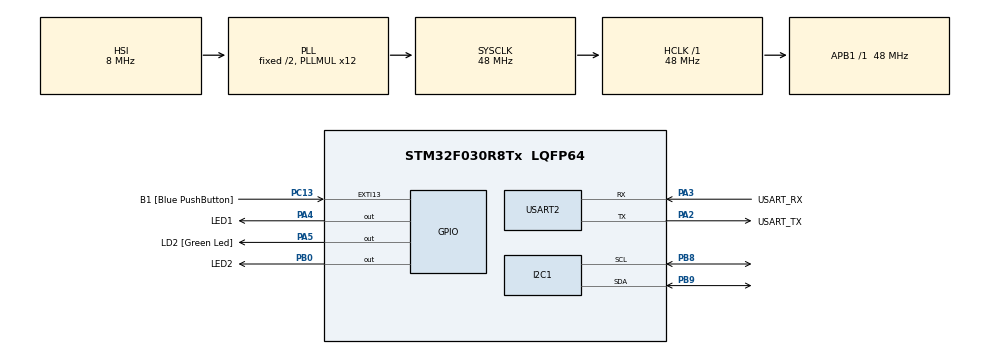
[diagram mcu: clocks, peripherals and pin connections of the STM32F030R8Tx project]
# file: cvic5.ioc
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Dma.Request0=USART2_RX
Dma.USART2_RX.0.Direction=DMA_PERIPH_TO_MEMORY
Dma.USART2_RX.0.Instance=DMA1_Channel5
Dma.USART2_RX.0.MemDataAlignment=DMA_MDATAALIGN_BYTE
Dma.USART2_RX.0.MemInc=DMA_MINC_ENABLE
Dma.USART2_RX.0.Mode=DMA_CIRCULAR
Dma.USART2_RX.0.PeriphDataAlignment=DMA_PDATAALIGN_BYTE
Dma.USART2_RX.0.PeriphInc=DMA_PINC_DISABLE
Dma.USART2_RX.0.Priority=DMA_PRIORITY_LOW
Mcu.Family=STM32F0
Mcu.Name=STM32F030R8Tx
Mcu.Package=LQFP64
NVIC.DMA1_Channel4_5_IRQn=true\:0\:0\:false\:false\:true\:false\:true\:true
PA13.GPIO_Label=TMS
PA13.Mode=Serial_Wire
PA13.Signal=SYS_SWDIO
PA14.GPIO_Label=TCK
PA14.Mode=Serial_Wire
PA14.Signal=SYS_SWCLK
PA2.GPIO_Label=USART_TX
PA2.GPIO_Mode=GPIO_MODE_AF_PP
PA2.GPIO_PuPd=GPIO_NOPULL
PA2.GPIO_Speed=GPIO_SPEED_FREQ_LOW
PA2.Mode=Asynchronous
PA2.Signal=USART2_TX
PA3.GPIO_Label=USART_RX
PA3.GPIO_Mode=GPIO_MODE_AF_PP
PA3.GPIO_PuPd=GPIO_NOPULL
PA3.GPIO_Speed=GPIO_SPEED_FREQ_LOW
PA3.Mode=Asynchronous
PA3.Signal=USART2_RX
PA4.GPIO_Label=LED1
PA4.Signal=GPIO_Output
PA5.GPIO_Label=LD2 [Green Led]
PA5.GPIO_Mode=GPIO_MODE_OUTPUT_PP
PA5.GPIO_PuPd=GPIO_NOPULL
PA5.GPIO_Speed=GPIO_SPEED_FREQ_LOW
PA5.Signal=GPIO_Output
PB0.GPIO_Label=LED2
PB0.Signal=GPIO_Output
PB8.Mode=I2C
PB8.Signal=I2C1_SCL
PB9.Mode=I2C
PB9.Signal=I2C1_SDA
PC13.GPIO_Label=B1 [Blue PushButton]
PC13.GPIO_ModeDefaultEXTI=GPIO_MODE_IT_FALLING
PC13.Signal=GPXTI13
PC14-OSC32_IN.Mode=LSE-External-Oscillator
PC14-OSC32_IN.Signal=RCC_OSC32_IN
PC15-OSC32_OUT.Mode=LSE-External-Oscillator
PC15-OSC32_OUT.Signal=RCC_OSC32_OUT
PF0-OSC_IN.Mode=HSE-External-Clock-Source
PF0-OSC_IN.Signal=RCC_OSC_IN
PF1-OSC_OUT.Signal=RCC_OSC_OUT
ProjectManager.HeapSize=0x200
ProjectManager.StackSize=0x400
ProjectManager.TargetToolchain=STM32CubeIDE
RCC.AHBFreq_Value=48000000
RCC.APB1Freq_Value=48000000
RCC.APB1TimFreq_Value=48000000
RCC.HCLKFreq_Value=48000000
RCC.PLLMUL=RCC_PLL_MUL12
RCC.SYSCLKFreq_VALUE=48000000
RCC.SYSCLKSource=RCC_SYSCLKSOURCE_PLLCLK
USART2.VirtualMode-Asynchronous=VM_ASYNC
board=NUCLEO-F030R8

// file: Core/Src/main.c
/* USER CODE BEGIN Header */
/**
 ******************************************************************************
 * @file           : main.c
 * @brief          : Main program body
 ******************************************************************************
 * @attention
 *
 * Copyright (c) 2023 STMicroelectronics.
 * All rights reserved.
 *
 * This software is licensed under terms that can be found in the LICENSE file
 * in the root directory of this software component.
 * If no LICENSE file comes with this software, it is provided AS-IS.
 *
 ******************************************************************************
 */
/* USER CODE END Header */
#include "main.h"

/* USER CODE BEGIN Includes */
#include <stdio.h>
#include <string.h>
#include <stdlib.h>

/* USER CODE END Includes */

/* USER CODE BEGIN PTD */

#define RX_BUFFER_LEN 64
static uint8_t uart_rx_buf[RX_BUFFER_LEN];
static volatile uint16_t uart_rx_read_ptr = 0;
#define uart_rx_write_ptr (RX_BUFFER_LEN - hdma_usart2_rx.Instance->CNDTR)
#define CMD_BUFFER_LEN 256
#define EEPROM_ADDR 0xA0

/* USER CODE END PTD */

I2C_HandleTypeDef hi2c1;

UART_HandleTypeDef huart2;
DMA_HandleTypeDef hdma_usart2_rx;

void SystemClock_Config(void);
static void MX_GPIO_Init(void);
static void MX_DMA_Init(void);
static void MX_USART2_UART_Init(void);
static void MX_I2C1_Init(void);

/* USER CODE BEGIN 0 */

static void uart_process_command(char *cmd)
{
	uint8_t value = 0;
	uint8_t value_array[16];
	uint16_t addr = 0;

	printf("prijato: '%s'\n", cmd);

	char *token;
	token = strtok(cmd, " ");
	if (strcasecmp(token, "HELLO") == 0) {
		printf("Komunikace OK\n");
	}

	else if (strcasecmp(token, "LED1") == 0) {
		token = strtok(NULL, " ");
		if (strcasecmp(token, "ON") == 0) {
			HAL_GPIO_WritePin(LED1_GPIO_Port, LED1_Pin, 1);
		}
		else if ((strcasecmp(token, "OFF")) == 0) {
			HAL_GPIO_WritePin(LED1_GPIO_Port, LED1_Pin, GPIO_PIN_RESET);
			printf("OK\n");
		}
	}

	else if (strcasecmp(token, "LED2") == 0) {
		token = strtok(NULL, " ");
		if (strcasecmp(token, "ON") == 0) {
			HAL_GPIO_WritePin(LED2_GPIO_Port, LED2_Pin, 1);
		}
		else if ((strcasecmp(token, "OFF")) == 0) {
			HAL_GPIO_WritePin(LED2_GPIO_Port, LED2_Pin, 0);
			printf("OK\n");
		}
	}

	else if (strcasecmp(token, "STATUS") == 0){
		HAL_GPIO_WritePin(LED1_GPIO_Port, LED1_Pin, GPIO_PIN_RESET);
		HAL_GPIO_WritePin(LED2_GPIO_Port, LED2_Pin, GPIO_PIN_RESET);
		printf("OK\n");
	}

	else if (strcasecmp(token, "READ") == 0){
		token = strtok(NULL, " ");
		addr = atoi(token);
		HAL_I2C_Mem_Read(&hi2c1, EEPROM_ADDR, addr, I2C_MEMADD_SIZE_16BIT, &value, 1, 1000);
		printf("Adresa 0x%04x = 0x%04x \n", addr, value);
	}

	else if (strcasecmp(token, "WRITE") == 0){
		token = strtok(NULL, " ");
		addr = atoi(token);
		token = strtok(NULL, " ");
		value = atoi(token);
		HAL_I2C_Mem_Write(&hi2c1, EEPROM_ADDR, addr, I2C_MEMADD_SIZE_16BIT, &value, 1, 1000);

		while (HAL_I2C_IsDeviceReady(&hi2c1, EEPROM_ADDR, 300, 1000) == HAL_TIMEOUT) {}
		printf("OK\n");
	}

	else if (strcasecmp(token, "DUMP") == 0){
		HAL_I2C_Mem_Read(&hi2c1, EEPROM_ADDR, addr, I2C_MEMADD_SIZE_16BIT, value_array, 16, 1000);
		for (uint16_t i = 0; i<16; i++){
			printf("Adresa 0x%04x = 0x%04x \n", i, value_array[i]);
		}

	}

}
int _write(int file, char const *buf, int n)
{
	/* stdout redirection to UART2 */
	HAL_UART_Transmit(&huart2, (uint8_t*)(buf), n, HAL_MAX_DELAY);
	return n;
}

static void uart_byte_available(uint8_t c)
{
	static uint16_t cnt;
	static char data[CMD_BUFFER_LEN];
	if (cnt < CMD_BUFFER_LEN && c >= 32 && c <= 126) data[cnt++] = c;
	if ((c == '\n' || c == '\r') && cnt > 0) {
		data[cnt] = '\0';
		uart_process_command(data);
		cnt = 0;
	}
}

/* USER CODE END 0 */

int main(void)
{

  /* MCU Configuration--------------------------------------------------------*/

  /* Reset of all peripherals, Initializes the Flash interface and the Systick. */
  HAL_Init();

  /* Configure the system clock */
  SystemClock_Config();

  /* Initialize all configured peripherals */
  MX_GPIO_Init();
  MX_DMA_Init();
  MX_USART2_UART_Init();
  MX_I2C1_Init();
  /* USER CODE BEGIN 2 */

	HAL_UART_Receive_DMA(&huart2, uart_rx_buf, RX_BUFFER_LEN);

  /* USER CODE END 2 */

  /* Infinite loop */
  /* USER CODE BEGIN WHILE */
	while (1)
	{

		while (uart_rx_read_ptr != uart_rx_write_ptr) {
			uint8_t b = uart_rx_buf[uart_rx_read_ptr];
			if (++uart_rx_read_ptr >= RX_BUFFER_LEN) uart_rx_read_ptr = 0; // increase read pointer
			uart_byte_available(b); // process every received byte with the RX state machine
		}

    /* USER CODE END WHILE */

	}
}

void SystemClock_Config(void)
{
  RCC_OscInitTypeDef RCC_OscInitStruct = {0};
  RCC_ClkInitTypeDef RCC_ClkInitStruct = {0};
  RCC_PeriphCLKInitTypeDef PeriphClkInit = {0};

  /** Initializes the RCC Oscillators according to the specified parameters
  * in the RCC_OscInitTypeDef structure.
  */
  RCC_OscInitStruct.OscillatorType = RCC_OSCILLATORTYPE_HSI;
  RCC_OscInitStruct.HSIState = RCC_HSI_ON;
  RCC_OscInitStruct.HSICalibrationValue = RCC_HSICALIBRATION_DEFAULT;
  RCC_OscInitStruct.PLL.PLLState = RCC_PLL_ON;
  RCC_OscInitStruct.PLL.PLLSource = RCC_PLLSOURCE_HSI;
  RCC_OscInitStruct.PLL.PLLMUL = RCC_PLL_MUL12;
  RCC_OscInitStruct.PLL.PREDIV = RCC_PREDIV_DIV1;
  if (HAL_RCC_OscConfig(&RCC_OscInitStruct) != HAL_OK)
  {
    Error_Handler();
  }

  /** Initializes the CPU, AHB and APB buses clocks
  */
  RCC_ClkInitStruct.ClockType = RCC_CLOCKTYPE_HCLK|RCC_CLOCKTYPE_SYSCLK
                              |RCC_CLOCKTYPE_PCLK1;
  RCC_ClkInitStruct.SYSCLKSource = RCC_SYSCLKSOURCE_PLLCLK;
  RCC_ClkInitStruct.AHBCLKDivider = RCC_SYSCLK_DIV1;
  RCC_ClkInitStruct.APB1CLKDivider = RCC_HCLK_DIV1;

  if (HAL_RCC_ClockConfig(&RCC_ClkInitStruct, FLASH_LATENCY_1) != HAL_OK)
  {
    Error_Handler();
  }
  PeriphClkInit.PeriphClockSelection = RCC_PERIPHCLK_I2C1;
  PeriphClkInit.I2c1ClockSelection = RCC_I2C1CLKSOURCE_HSI;
  if (HAL_RCCEx_PeriphCLKConfig(&PeriphClkInit) != HAL_OK)
  {
    Error_Handler();
  }
}

static void MX_I2C1_Init(void)
{

  hi2c1.Instance = I2C1;
  hi2c1.Init.Timing = 0x2000090E;
  hi2c1.Init.OwnAddress1 = 0;
  hi2c1.Init.AddressingMode = I2C_ADDRESSINGMODE_7BIT;
  hi2c1.Init.DualAddressMode = I2C_DUALADDRESS_DISABLE;
  hi2c1.Init.OwnAddress2 = 0;
  hi2c1.Init.OwnAddress2Masks = I2C_OA2_NOMASK;
  hi2c1.Init.GeneralCallMode = I2C_GENERALCALL_DISABLE;
  hi2c1.Init.NoStretchMode = I2C_NOSTRETCH_DISABLE;
  if (HAL_I2C_Init(&hi2c1) != HAL_OK)
  {
    Error_Handler();
  }

  /** Configure Analogue filter
  */
  if (HAL_I2CEx_ConfigAnalogFilter(&hi2c1, I2C_ANALOGFILTER_ENABLE) != HAL_OK)
  {
    Error_Handler();
  }

  /** Configure Digital filter
  */
  if (HAL_I2CEx_ConfigDigitalFilter(&hi2c1, 0) != HAL_OK)
  {
    Error_Handler();
  }

}

static void MX_USART2_UART_Init(void)
{

  huart2.Instance = USART2;
  huart2.Init.BaudRate = 38400;
  huart2.Init.WordLength = UART_WORDLENGTH_8B;
  huart2.Init.StopBits = UART_STOPBITS_1;
  huart2.Init.Parity = UART_PARITY_NONE;
  huart2.Init.Mode = UART_MODE_TX_RX;
  huart2.Init.HwFlowCtl = UART_HWCONTROL_NONE;
  huart2.Init.OverSampling = UART_OVERSAMPLING_16;
  huart2.Init.OneBitSampling = UART_ONE_BIT_SAMPLE_DISABLE;
  huart2.AdvancedInit.AdvFeatureInit = UART_ADVFEATURE_NO_INIT;
  if (HAL_UART_Init(&huart2) != HAL_OK)
  {
    Error_Handler();
  }

}

static void MX_DMA_Init(void)
{

  /* DMA controller clock enable */
  __HAL_RCC_DMA1_CLK_ENABLE();

  /* DMA interrupt init */
  /* DMA1_Channel4_5_IRQn interrupt configuration */
  HAL_NVIC_SetPriority(DMA1_Channel4_5_IRQn, 0, 0);
  HAL_NVIC_EnableIRQ(DMA1_Channel4_5_IRQn);

}

static void MX_GPIO_Init(void)
{
  GPIO_InitTypeDef GPIO_InitStruct = {0};

  /* GPIO Ports Clock Enable */
  __HAL_RCC_GPIOC_CLK_ENABLE();
  __HAL_RCC_GPIOF_CLK_ENABLE();
  __HAL_RCC_GPIOA_CLK_ENABLE();
  __HAL_RCC_GPIOB_CLK_ENABLE();

  /*Configure GPIO pin Output Level */
  HAL_GPIO_WritePin(GPIOA, LED1_Pin|LD2_Pin, GPIO_PIN_RESET);

  /*Configure GPIO pin Output Level */
  HAL_GPIO_WritePin(LED2_GPIO_Port, LED2_Pin, GPIO_PIN_RESET);

  /*Configure GPIO pin : B1_Pin */
  GPIO_InitStruct.Pin = B1_Pin;
  GPIO_InitStruct.Mode = GPIO_MODE_IT_FALLING;
  GPIO_InitStruct.Pull = GPIO_NOPULL;
  HAL_GPIO_Init(B1_GPIO_Port, &GPIO_InitStruct);

  /*Configure GPIO pins : LED1_Pin LD2_Pin */
  GPIO_InitStruct.Pin = LED1_Pin|LD2_Pin;
  GPIO_InitStruct.Mode = GPIO_MODE_OUTPUT_PP;
  GPIO_InitStruct.Pull = GPIO_NOPULL;
  GPIO_InitStruct.Speed = GPIO_SPEED_FREQ_LOW;
  HAL_GPIO_Init(GPIOA, &GPIO_InitStruct);

  /*Configure GPIO pin : LED2_Pin */
  GPIO_InitStruct.Pin = LED2_Pin;
  GPIO_InitStruct.Mode = GPIO_MODE_OUTPUT_PP;
  GPIO_InitStruct.Pull = GPIO_NOPULL;
  GPIO_InitStruct.Speed = GPIO_SPEED_FREQ_LOW;
  HAL_GPIO_Init(LED2_GPIO_Port, &GPIO_InitStruct);

}

void Error_Handler(void)
{
	__disable_irq();
	while (1)
	{
	}
}
